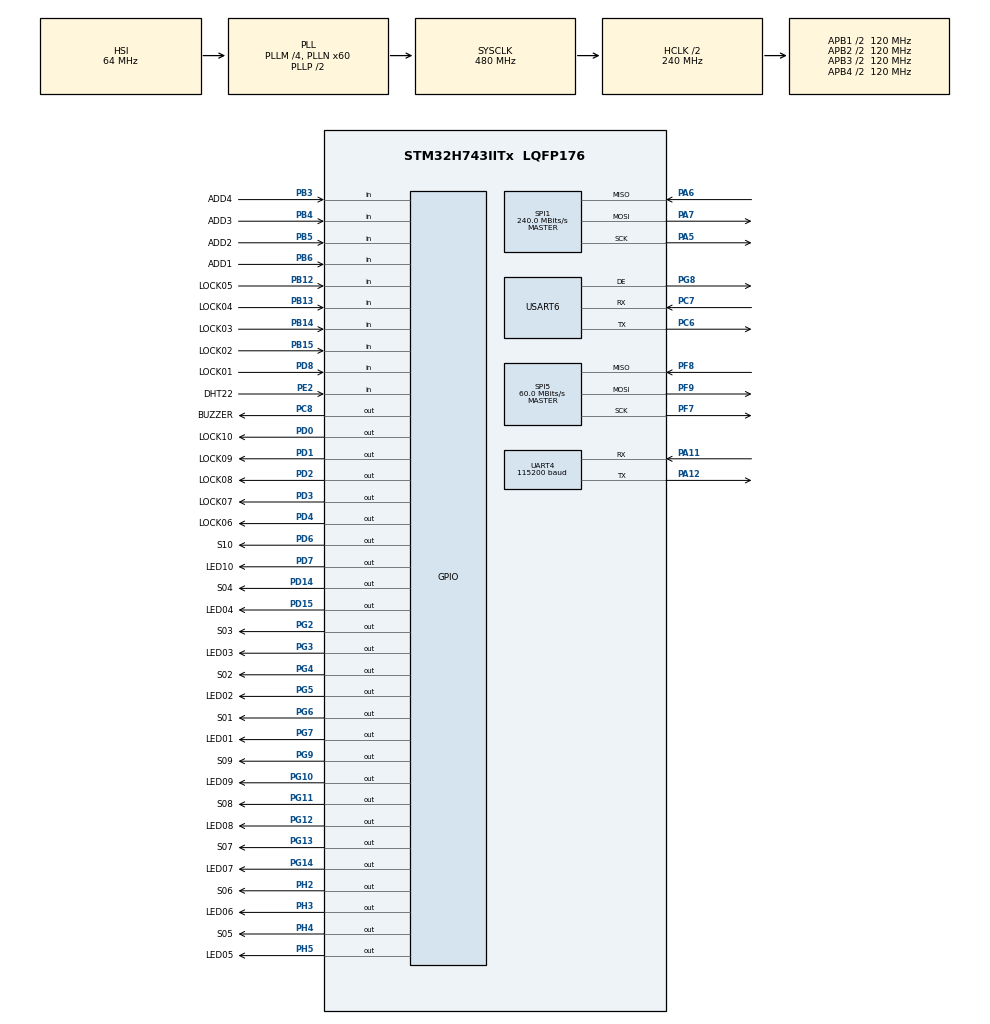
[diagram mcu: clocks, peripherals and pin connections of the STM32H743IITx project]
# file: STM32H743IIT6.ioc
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CORTEX_M7.default_mode_Activation=1
FREERTOS.Tasks01=defaultTask,24,128,StartDefaultTask,Default,NULL,Dynamic,NULL,NULL;buzzerTask,8,128,StartTask02,Default,NULL,Dynamic,NULL,NULL
Mcu.Family=STM32H7
Mcu.Name=STM32H743IITx
Mcu.Package=LQFP176
NVIC.PriorityGroup=NVIC_PRIORITYGROUP_4
NVIC.TIM6_DAC_IRQn=true\:15\:0\:false\:false\:true\:false\:false\:true\:true
NVIC.TimeBase=TIM6_DAC_IRQn
NVIC.TimeBaseIP=TIM6
NVIC.UART4_IRQn=true\:5\:0\:false\:false\:true\:true\:true\:true\:true
PA11.Mode=Asynchronous
PA11.Signal=UART4_RX
PA12.Mode=Asynchronous
PA12.Signal=UART4_TX
PA13\ (JTMS/SWDIO).Signal=DEBUG_JTMS-SWDIO
PA14\ (JTCK/SWCLK).Signal=DEBUG_JTCK-SWCLK
PA4.Signal=SPI1_NSS
PA5.Mode=Full_Duplex_Master
PA5.Signal=SPI1_SCK
PA6.Mode=Full_Duplex_Master
PA6.Signal=SPI1_MISO
PA7.Mode=Full_Duplex_Master
PA7.Signal=SPI1_MOSI
PB12.GPIO_Label=LOCK05
PB12.Signal=GPIO_Input
PB13.GPIO_Label=LOCK04
PB13.Signal=GPIO_Input
PB14.GPIO_Label=LOCK03
PB14.Signal=GPIO_Input
PB15.GPIO_Label=LOCK02
PB15.Signal=GPIO_Input
PB3\ (JTDO/TRACESWO).GPIO_Label=ADD4
PB3\ (JTDO/TRACESWO).Signal=GPIO_Input
PB4\ (NJTRST).GPIO_Label=ADD3
PB4\ (NJTRST).Signal=GPIO_Input
PB5.GPIO_Label=ADD2
PB5.Signal=GPIO_Input
PB6.GPIO_Label=ADD1
PB6.Signal=GPIO_Input
PC14-OSC32_IN\ (OSC32_IN).Mode=LSE-External-Oscillator
PC14-OSC32_IN\ (OSC32_IN).Signal=RCC_OSC32_IN
PC15-OSC32_OUT\ (OSC32_OUT).Mode=LSE-External-Oscillator
PC15-OSC32_OUT\ (OSC32_OUT).Signal=RCC_OSC32_OUT
PC6.Mode=Asynchronous
PC6.Signal=USART6_TX
PC7.Mode=Asynchronous
PC7.Signal=USART6_RX
PC8.GPIO_Label=BUZZER
PC8.Signal=GPIO_Output
PD0.GPIO_Label=LOCK10
PD0.Signal=GPIO_Output
PD1.GPIO_Label=LOCK09
PD1.Signal=GPIO_Output
PD14.GPIO_Label=S04
PD14.Signal=GPIO_Output
PD15.GPIO_Label=LED04
PD15.Signal=GPIO_Output
PD2.GPIO_Label=LOCK08
PD2.Signal=GPIO_Output
PD3.GPIO_Label=LOCK07
PD3.Signal=GPIO_Output
PD4.GPIO_Label=LOCK06
PD4.Signal=GPIO_Output
PD6.GPIO_Label=S10
PD6.Signal=GPIO_Output
PD7.GPIO_Label=LED10
PD7.Signal=GPIO_Output
PD8.GPIO_Label=LOCK01
PD8.Signal=GPIO_Input
PE2.GPIO_Label=DHT22
PE2.Signal=GPIO_Input
PF6.Signal=SPI5_NSS
PF7.Mode=Full_Duplex_Master
PF7.Signal=SPI5_SCK
PF8.Mode=Full_Duplex_Master
PF8.Signal=SPI5_MISO
PF9.Mode=Full_Duplex_Master
PF9.Signal=SPI5_MOSI
PG10.GPIO_Label=LED09
PG10.Signal=GPIO_Output
PG11.GPIO_Label=S08
PG11.Signal=GPIO_Output
PG12.GPIO_Label=LED08
PG12.Signal=GPIO_Output
PG13.GPIO_Label=S07
PG13.Signal=GPIO_Output
PG14.GPIO_Label=LED07
PG14.Signal=GPIO_Output
PG2.GPIO_Label=S03
PG2.Signal=GPIO_Output
PG3.GPIO_Label=LED03
PG3.Signal=GPIO_Output
PG4.GPIO_Label=S02
PG4.Signal=GPIO_Output
PG5.GPIO_Label=LED02
PG5.Signal=GPIO_Output
PG6.GPIO_Label=S01
PG6.Signal=GPIO_Output
PG7.GPIO_Label=LED01
PG7.Signal=GPIO_Output
PG8.Mode=Hardware Flow Control (RS485)
PG8.Signal=USART6_DE
PG9.GPIO_Label=S09
PG9.Signal=GPIO_Output
PH0-OSC_IN\ (PH0).Mode=HSE-External-Oscillator
PH0-OSC_IN\ (PH0).Signal=RCC_OSC_IN
PH1-OSC_OUT\ (PH1).Mode=HSE-External-Oscillator
PH1-OSC_OUT\ (PH1).Signal=RCC_OSC_OUT
PH2.GPIO_Label=S06
PH2.Signal=GPIO_Output
PH3.GPIO_Label=LED06
PH3.Signal=GPIO_Output
PH4.GPIO_Label=S05
PH4.Signal=GPIO_Output
PH5.GPIO_Label=LED05
PH5.Signal=GPIO_Output
ProjectManager.HeapSize=0x200
ProjectManager.StackSize=0x400
ProjectManager.TargetToolchain=STM32CubeIDE
RCC.ADCFreq_Value=129000000
RCC.APB1Freq_Value=120000000
RCC.APB2Freq_Value=120000000
RCC.APB3Freq_Value=120000000
RCC.APB4Freq_Value=120000000
RCC.CortexFreq_Value=480000000
RCC.D1PPRE=RCC_APB3_DIV2
RCC.D2PPRE1=RCC_APB1_DIV2
RCC.D2PPRE2=RCC_APB2_DIV2
RCC.D3PPRE=RCC_APB4_DIV2
RCC.DIVM1=4
RCC.DIVN1=60
RCC.HCLKFreq_Value=240000000
RCC.HPRE=RCC_HCLK_DIV2
RCC.HSE_VALUE=25000000
RCC.PLL2FRACN=0
RCC.PLL3FRACN=0
RCC.PLLFRACN=0
RCC.SYSCLKFreq_VALUE=480000000
RCC.SYSCLKSource=RCC_SYSCLKSOURCE_PLLCLK
RCC.USBFreq_Value=480000000
SPI1.BaudRatePrescaler=SPI_BAUDRATEPRESCALER_2
SPI1.CalculateBaudRate=240.0 MBits/s
SPI1.Direction=SPI_DIRECTION_2LINES
SPI1.Mode=SPI_MODE_MASTER
SPI1.VirtualType=VM_MASTER
SPI5.CalculateBaudRate=60.0 MBits/s
SPI5.Direction=SPI_DIRECTION_2LINES
SPI5.Mode=SPI_MODE_MASTER
SPI5.VirtualType=VM_MASTER
UART4.BaudRate=115200
USART6.VirtualMode-Asynchronous=VM_ASYNC
USART6.VirtualMode-Hardware\ Flow\ Control\ (RS485)=VM_ASYNC
VP_FREERTOS_VS_CMSIS_V2.Mode=CMSIS_V2
VP_MEMORYMAP_VS_MEMORYMAP.Mode=CurAppReg
VP_SYS_VS_tim6.Mode=TIM6
board=custom

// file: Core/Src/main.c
/* USER CODE BEGIN Header */
/**
 ******************************************************************************
 * @file           : main.c
 * @brief          : Main program body
 ******************************************************************************
 * @attention
 *
 * Copyright (c) 2024 STMicroelectronics.
 * All rights reserved.
 *
 * This software is licensed under terms that can be found in the LICENSE file
 * in the root directory of this software component.
 * If no LICENSE file comes with this software, it is provided AS-IS.
 *
 ******************************************************************************
 */
/* USER CODE END Header */
#include "main.h"
#include "cmsis_os.h"
#include "dht22.h"

SPI_HandleTypeDef hspi1;
SPI_HandleTypeDef hspi5;

UART_HandleTypeDef huart4;
UART_HandleTypeDef huart6;
DHT22_Data_t sensorData;
/* Definitions for defaultTask */
osThreadId_t defaultTaskHandle;
const osThreadAttr_t defaultTask_attributes = { .name = "defaultTask",
		.stack_size = 128 * 4, .priority = (osPriority_t) osPriorityNormal, };
/* Definitions for buzzerTask */
osThreadId_t buzzerTaskHandle;
const osThreadAttr_t buzzerTask_attributes = { .name = "buzzerTask",
		.stack_size = 128 * 4, .priority = (osPriority_t) osPriorityLow, };
/* USER CODE BEGIN PV */
int timeDelay = 1;
int solenoidTimeDelay = 300;
uint8_t add1[1];
uint8_t add2[1];
uint8_t add3[1];
uint8_t add4[1];
uint8_t address[1];
uint8_t buzzerStatus[1];
uint8_t pinStatus[10] = { 0x30, 0x31, 0x32, 0x33, 0x34, 0x35, 0x36, 0x37, 0x38,
		0x39 };
uint8_t solenoidStatus[10] = { };
uint8_t play[6] = { 0x41, 0x42, 0x43, 0x44, 0x45, 0x46 };
uint8_t rxBuffer[8];
uint8_t txBuffer[15] = { 0x02, 0x00, 0x00, 0x00, 0x00, 0x00, 0x00, 0x00, 0x00,
		0x00, 0x00, 0x00, 0x00, 0x00, 0x03 };

/* USER CODE END PV */

void SystemClock_Config(void);
static void MPU_Config(void);
static void MX_GPIO_Init(void);
static void MX_UART4_Init(void);
static void MX_USART6_UART_Init(void);
static void MX_SPI1_Init(void);
static void MX_SPI5_Init(void);
void StartDefaultTask(void *argument);
void StartTask02(void *argument);
void solenoidControl(uint8_t solenoidNo);
void readLockStatus();
void replyProtocol();
uint8_t checkSum();
uint8_t checkSumReply();
uint8_t readAddress();

int main(void) {
	HAL_Init();
	SystemClock_Config();
	MX_GPIO_Init();
	DHT22_Init();
	//MX_TIM1_Init(); // Initialize TIM1 for microsecond delay

	/* MPU Configuration--------------------------------------------------------*/
	MPU_Config();

	/* MCU Configuration--------------------------------------------------------*/

	/* Reset of all peripherals, Initializes the Flash interface and the Systick. */
	HAL_Init();

	/* Configure the system clock */
	SystemClock_Config();

	/* Initialize all configured peripherals */
	MX_GPIO_Init();
	MX_UART4_Init();
	MX_USART6_UART_Init();
	MX_SPI1_Init();
	MX_SPI5_Init();

	/* Init scheduler */
	osKernelInitialize();

	/* Create the thread(s) */
	/* creation of defaultTask */
	defaultTaskHandle = osThreadNew(StartDefaultTask, NULL,
			&defaultTask_attributes);

	/* creation of buzzerTask */
	buzzerTaskHandle = osThreadNew(StartTask02, NULL, &buzzerTask_attributes);

	vTaskSuspend(buzzerTaskHandle);
	/* Start scheduler */
	osKernelStart();

	/* We should never get here as control is now taken by the scheduler */

	/* Infinite loop */
	while (1) {

	}
}

void SystemClock_Config(void) {
	RCC_OscInitTypeDef RCC_OscInitStruct = { 0 };
	RCC_ClkInitTypeDef RCC_ClkInitStruct = { 0 };

	/** Supply configuration update enable
	 */
	HAL_PWREx_ConfigSupply(PWR_LDO_SUPPLY);

	/** Configure the main internal regulator output voltage
	 */
	__HAL_PWR_VOLTAGESCALING_CONFIG(PWR_REGULATOR_VOLTAGE_SCALE1);

	while (!__HAL_PWR_GET_FLAG(PWR_FLAG_VOSRDY)) {
	}

	__HAL_RCC_SYSCFG_CLK_ENABLE();
	__HAL_PWR_VOLTAGESCALING_CONFIG(PWR_REGULATOR_VOLTAGE_SCALE0);

	while (!__HAL_PWR_GET_FLAG(PWR_FLAG_VOSRDY)) {
	}

	/** Initializes the RCC Oscillators according to the specified parameters
	 * in the RCC_OscInitTypeDef structure.
	 */
	RCC_OscInitStruct.OscillatorType = RCC_OSCILLATORTYPE_HSI;
	RCC_OscInitStruct.HSIState = RCC_HSI_DIV1;
	RCC_OscInitStruct.HSICalibrationValue = RCC_HSICALIBRATION_DEFAULT;
	RCC_OscInitStruct.PLL.PLLState = RCC_PLL_ON;
	RCC_OscInitStruct.PLL.PLLSource = RCC_PLLSOURCE_HSI;
	RCC_OscInitStruct.PLL.PLLM = 4;
	RCC_OscInitStruct.PLL.PLLN = 60;
	RCC_OscInitStruct.PLL.PLLP = 2;
	RCC_OscInitStruct.PLL.PLLQ = 2;
	RCC_OscInitStruct.PLL.PLLR = 2;
	RCC_OscInitStruct.PLL.PLLRGE = RCC_PLL1VCIRANGE_3;
	RCC_OscInitStruct.PLL.PLLVCOSEL = RCC_PLL1VCOWIDE;
	RCC_OscInitStruct.PLL.PLLFRACN = 0;
	if (HAL_RCC_OscConfig(&RCC_OscInitStruct) != HAL_OK) {
		Error_Handler();
	}

	/** Initializes the CPU, AHB and APB buses clocks
	 */
	RCC_ClkInitStruct.ClockType = RCC_CLOCKTYPE_HCLK | RCC_CLOCKTYPE_SYSCLK
			| RCC_CLOCKTYPE_PCLK1 | RCC_CLOCKTYPE_PCLK2 | RCC_CLOCKTYPE_D3PCLK1
			| RCC_CLOCKTYPE_D1PCLK1;
	RCC_ClkInitStruct.SYSCLKSource = RCC_SYSCLKSOURCE_PLLCLK;
	RCC_ClkInitStruct.SYSCLKDivider = RCC_SYSCLK_DIV1;
	RCC_ClkInitStruct.AHBCLKDivider = RCC_HCLK_DIV2;
	RCC_ClkInitStruct.APB3CLKDivider = RCC_APB3_DIV2;
	RCC_ClkInitStruct.APB1CLKDivider = RCC_APB1_DIV2;
	RCC_ClkInitStruct.APB2CLKDivider = RCC_APB2_DIV2;
	RCC_ClkInitStruct.APB4CLKDivider = RCC_APB4_DIV2;

	if (HAL_RCC_ClockConfig(&RCC_ClkInitStruct, FLASH_LATENCY_4) != HAL_OK) {
		Error_Handler();
	}
}

static void MX_SPI1_Init(void) {

	/* SPI1 parameter configuration*/
	hspi1.Instance = SPI1;
	hspi1.Init.Mode = SPI_MODE_MASTER;
	hspi1.Init.Direction = SPI_DIRECTION_2LINES;
	hspi1.Init.DataSize = SPI_DATASIZE_4BIT;
	hspi1.Init.CLKPolarity = SPI_POLARITY_LOW;
	hspi1.Init.CLKPhase = SPI_PHASE_1EDGE;
	hspi1.Init.NSS = SPI_NSS_SOFT;
	hspi1.Init.BaudRatePrescaler = SPI_BAUDRATEPRESCALER_2;
	hspi1.Init.FirstBit = SPI_FIRSTBIT_MSB;
	hspi1.Init.TIMode = SPI_TIMODE_DISABLE;
	hspi1.Init.CRCCalculation = SPI_CRCCALCULATION_DISABLE;
	hspi1.Init.CRCPolynomial = 0x0;
	hspi1.Init.NSSPMode = SPI_NSS_PULSE_ENABLE;
	hspi1.Init.NSSPolarity = SPI_NSS_POLARITY_LOW;
	hspi1.Init.FifoThreshold = SPI_FIFO_THRESHOLD_01DATA;
	hspi1.Init.TxCRCInitializationPattern =
	SPI_CRC_INITIALIZATION_ALL_ZERO_PATTERN;
	hspi1.Init.RxCRCInitializationPattern =
	SPI_CRC_INITIALIZATION_ALL_ZERO_PATTERN;
	hspi1.Init.MasterSSIdleness = SPI_MASTER_SS_IDLENESS_00CYCLE;
	hspi1.Init.MasterInterDataIdleness = SPI_MASTER_INTERDATA_IDLENESS_00CYCLE;
	hspi1.Init.MasterReceiverAutoSusp = SPI_MASTER_RX_AUTOSUSP_DISABLE;
	hspi1.Init.MasterKeepIOState = SPI_MASTER_KEEP_IO_STATE_DISABLE;
	hspi1.Init.IOSwap = SPI_IO_SWAP_DISABLE;
	if (HAL_SPI_Init(&hspi1) != HAL_OK) {
		Error_Handler();
	}

}

static void MX_SPI5_Init(void) {

	/* SPI5 parameter configuration*/
	hspi5.Instance = SPI5;
	hspi5.Init.Mode = SPI_MODE_MASTER;
	hspi5.Init.Direction = SPI_DIRECTION_2LINES;
	hspi5.Init.DataSize = SPI_DATASIZE_4BIT;
	hspi5.Init.CLKPolarity = SPI_POLARITY_LOW;
	hspi5.Init.CLKPhase = SPI_PHASE_1EDGE;
	hspi5.Init.NSS = SPI_NSS_SOFT;
	hspi5.Init.BaudRatePrescaler = SPI_BAUDRATEPRESCALER_2;
	hspi5.Init.FirstBit = SPI_FIRSTBIT_MSB;
	hspi5.Init.TIMode = SPI_TIMODE_DISABLE;
	hspi5.Init.CRCCalculation = SPI_CRCCALCULATION_DISABLE;
	hspi5.Init.CRCPolynomial = 0x0;
	hspi5.Init.NSSPMode = SPI_NSS_PULSE_ENABLE;
	hspi5.Init.NSSPolarity = SPI_NSS_POLARITY_LOW;
	hspi5.Init.FifoThreshold = SPI_FIFO_THRESHOLD_01DATA;
	hspi5.Init.TxCRCInitializationPattern =
	SPI_CRC_INITIALIZATION_ALL_ZERO_PATTERN;
	hspi5.Init.RxCRCInitializationPattern =
	SPI_CRC_INITIALIZATION_ALL_ZERO_PATTERN;
	hspi5.Init.MasterSSIdleness = SPI_MASTER_SS_IDLENESS_00CYCLE;
	hspi5.Init.MasterInterDataIdleness = SPI_MASTER_INTERDATA_IDLENESS_00CYCLE;
	hspi5.Init.MasterReceiverAutoSusp = SPI_MASTER_RX_AUTOSUSP_DISABLE;
	hspi5.Init.MasterKeepIOState = SPI_MASTER_KEEP_IO_STATE_DISABLE;
	hspi5.Init.IOSwap = SPI_IO_SWAP_DISABLE;
	if (HAL_SPI_Init(&hspi5) != HAL_OK) {
		Error_Handler();
	}

}

static void MX_UART4_Init(void) {

	huart4.Instance = UART4;
	huart4.Init.BaudRate = 115200;
	huart4.Init.WordLength = UART_WORDLENGTH_8B;
	huart4.Init.StopBits = UART_STOPBITS_1;
	huart4.Init.Parity = UART_PARITY_NONE;
	huart4.Init.Mode = UART_MODE_TX_RX;
	huart4.Init.HwFlowCtl = UART_HWCONTROL_NONE;
	huart4.Init.OverSampling = UART_OVERSAMPLING_16;
	huart4.Init.OneBitSampling = UART_ONE_BIT_SAMPLE_DISABLE;
	huart4.Init.ClockPrescaler = UART_PRESCALER_DIV1;
	huart4.AdvancedInit.AdvFeatureInit = UART_ADVFEATURE_NO_INIT;
	if (HAL_UART_Init(&huart4) != HAL_OK) {
		Error_Handler();
	}
	if (HAL_UARTEx_SetTxFifoThreshold(&huart4, UART_TXFIFO_THRESHOLD_1_8)
			!= HAL_OK) {
		Error_Handler();
	}
	if (HAL_UARTEx_SetRxFifoThreshold(&huart4, UART_RXFIFO_THRESHOLD_1_8)
			!= HAL_OK) {
		Error_Handler();
	}
	if (HAL_UARTEx_DisableFifoMode(&huart4) != HAL_OK) {
		Error_Handler();
	}

}

static void MX_USART6_UART_Init(void) {

	huart6.Instance = USART6;
	huart6.Init.BaudRate = 115200;
	huart6.Init.WordLength = UART_WORDLENGTH_8B;
	huart6.Init.StopBits = UART_STOPBITS_1;
	huart6.Init.Parity = UART_PARITY_NONE;
	huart6.Init.Mode = UART_MODE_TX_RX;
	huart6.Init.HwFlowCtl = UART_HWCONTROL_NONE;
	huart6.Init.OverSampling = UART_OVERSAMPLING_16;
	huart6.Init.OneBitSampling = UART_ONE_BIT_SAMPLE_DISABLE;
	huart6.Init.ClockPrescaler = UART_PRESCALER_DIV1;
	huart6.AdvancedInit.AdvFeatureInit = UART_ADVFEATURE_NO_INIT;
	if (HAL_RS485Ex_Init(&huart6, UART_DE_POLARITY_HIGH, 0, 0) != HAL_OK) {
		Error_Handler();
	}
	if (HAL_UARTEx_SetTxFifoThreshold(&huart6, UART_TXFIFO_THRESHOLD_1_8)
			!= HAL_OK) {
		Error_Handler();
	}
	if (HAL_UARTEx_SetRxFifoThreshold(&huart6, UART_RXFIFO_THRESHOLD_1_8)
			!= HAL_OK) {
		Error_Handler();
	}
	if (HAL_UARTEx_DisableFifoMode(&huart6) != HAL_OK) {
		Error_Handler();
	}

}

static void MX_GPIO_Init(void) {
	GPIO_InitTypeDef GPIO_InitStruct = { 0 };

	/* GPIO Ports Clock Enable */
	__HAL_RCC_GPIOE_CLK_ENABLE();
	__HAL_RCC_GPIOC_CLK_ENABLE();
	__HAL_RCC_GPIOF_CLK_ENABLE();
	__HAL_RCC_GPIOH_CLK_ENABLE();
	__HAL_RCC_GPIOA_CLK_ENABLE();
	__HAL_RCC_GPIOB_CLK_ENABLE();
	__HAL_RCC_GPIOD_CLK_ENABLE();
	__HAL_RCC_GPIOG_CLK_ENABLE();

	/*Configure GPIO pin Output Level */
	HAL_GPIO_WritePin(GPIOH, S06_Pin | LED06_Pin | S05_Pin | LED05_Pin,
			GPIO_PIN_RESET);

	/*Configure GPIO pin Output Level */
	HAL_GPIO_WritePin(GPIOD,
			S04_Pin | LED04_Pin | LOCK10_Pin | LOCK09_Pin | LOCK08_Pin
					| LOCK07_Pin | LOCK06_Pin | S10_Pin | LED10_Pin,
			GPIO_PIN_RESET);

	/*Configure GPIO pin Output Level */
	HAL_GPIO_WritePin(GPIOG,
			S03_Pin | LED03_Pin | S02_Pin | LED02_Pin | S01_Pin | LED01_Pin
					| S09_Pin | LED09_Pin | S08_Pin | LED08_Pin | S07_Pin
					| LED07_Pin, GPIO_PIN_RESET);

	/*Configure GPIO pin Output Level */
	HAL_GPIO_WritePin(BUZZER_GPIO_Port, BUZZER_Pin, GPIO_PIN_RESET);

	/*Configure GPIO pin : DHT22_Pin */
	GPIO_InitStruct.Pin = DHT22_Pin;
	GPIO_InitStruct.Mode = GPIO_MODE_INPUT;
	GPIO_InitStruct.Pull = GPIO_NOPULL;
	HAL_GPIO_Init(DHT22_GPIO_Port, &GPIO_InitStruct);

	/*Configure GPIO pins : S06_Pin LED06_Pin S05_Pin LED05_Pin */
	GPIO_InitStruct.Pin = S06_Pin | LED06_Pin | S05_Pin | LED05_Pin;
	GPIO_InitStruct.Mode = GPIO_MODE_OUTPUT_PP;
	GPIO_InitStruct.Pull = GPIO_NOPULL;
	GPIO_InitStruct.Speed = GPIO_SPEED_FREQ_LOW;
	HAL_GPIO_Init(GPIOH, &GPIO_InitStruct);

	/*Configure GPIO pins : LOCK05_Pin LOCK04_Pin LOCK03_Pin LOCK02_Pin
	 ADD4_Pin ADD3_Pin ADD2_Pin ADD1_Pin */
	GPIO_InitStruct.Pin = LOCK05_Pin | LOCK04_Pin | LOCK03_Pin | LOCK02_Pin
			| ADD4_Pin | ADD3_Pin | ADD2_Pin | ADD1_Pin;
	GPIO_InitStruct.Mode = GPIO_MODE_INPUT;
	GPIO_InitStruct.Pull = GPIO_NOPULL;
	HAL_GPIO_Init(GPIOB, &GPIO_InitStruct);

	/*Configure GPIO pin : LOCK01_Pin */
	GPIO_InitStruct.Pin = LOCK01_Pin;
	GPIO_InitStruct.Mode = GPIO_MODE_INPUT;
	GPIO_InitStruct.Pull = GPIO_NOPULL;
	HAL_GPIO_Init(LOCK01_GPIO_Port, &GPIO_InitStruct);

	/*Configure GPIO pins : S04_Pin LED04_Pin LOCK10_Pin LOCK09_Pin
	 LOCK08_Pin LOCK07_Pin LOCK06_Pin S10_Pin
	 LED10_Pin */
	GPIO_InitStruct.Pin = S04_Pin | LED04_Pin | LOCK10_Pin | LOCK09_Pin
			| LOCK08_Pin | LOCK07_Pin | LOCK06_Pin | S10_Pin | LED10_Pin;
	GPIO_InitStruct.Mode = GPIO_MODE_OUTPUT_PP;
	GPIO_InitStruct.Pull = GPIO_NOPULL;
	GPIO_InitStruct.Speed = GPIO_SPEED_FREQ_LOW;
	HAL_GPIO_Init(GPIOD, &GPIO_InitStruct);

	/*Configure GPIO pins : S03_Pin LED03_Pin S02_Pin LED02_Pin
	 S01_Pin LED01_Pin S09_Pin LED09_Pin
	 S08_Pin LED08_Pin S07_Pin LED07_Pin */
	GPIO_InitStruct.Pin = S03_Pin | LED03_Pin | S02_Pin | LED02_Pin | S01_Pin
			| LED01_Pin | S09_Pin | LED09_Pin | S08_Pin | LED08_Pin | S07_Pin
			| LED07_Pin;
	GPIO_InitStruct.Mode = GPIO_MODE_OUTPUT_PP;
	GPIO_InitStruct.Pull = GPIO_NOPULL;
	GPIO_InitStruct.Speed = GPIO_SPEED_FREQ_LOW;
	HAL_GPIO_Init(GPIOG, &GPIO_InitStruct);

	/*Configure GPIO pin : BUZZER_Pin */
	GPIO_InitStruct.Pin = BUZZER_Pin;
	GPIO_InitStruct.Mode = GPIO_MODE_OUTPUT_PP;
	GPIO_InitStruct.Pull = GPIO_NOPULL;
	GPIO_InitStruct.Speed = GPIO_SPEED_FREQ_LOW;
	HAL_GPIO_Init(BUZZER_GPIO_Port, &GPIO_InitStruct);

}

void StartDefaultTask(void *argument) {
	/* USER CODE BEGIN 5 */
	/* Infinite loop */
	for (;;) {
		if (HAL_UART_Receive(&huart4, rxBuffer, 8, 10) == HAL_OK) {
			// Data received successfully, transmit it back
			//HAL_GPIO_WritePin(S01_GPIO_Port, S01_Pin, 1);
			//HAL_UART_Transmit(&huart4, (uint8_t*) rxBuffer, 8, 10);
			if (rxBuffer[6] == checkSum() && rxBuffer[1] == 0x01) {
				//Control
				if (rxBuffer[2] == 0x43) {
					//Control Buzzer
					if (rxBuffer[3] == 0x42) {
						if (rxBuffer[5] == 0x31) {
							vTaskResume(buzzerTaskHandle);
							buzzerStatus[0] = 0x31;
						}
						if (rxBuffer[5] == 0x30) {
							vTaskSuspend(buzzerTaskHandle);
							HAL_GPIO_WritePin(BUZZER_GPIO_Port, BUZZER_Pin,
									GPIO_PIN_RESET);
							buzzerStatus[0] = 0x30;
						}

					}
					//Control Solenoid
					if (rxBuffer[3] == 0x53) {
						solenoidControl(rxBuffer[4]);
						replyProtocol();
					}
				}
				//Read
				if (rxBuffer[2] == 0x52) {
					//Buzzer
					if (rxBuffer[3] == 0x42) {

					}
					//Humid
					if (rxBuffer[3] == 0x48) {

					}
					//Solenoid
					if (rxBuffer[3] == 0x53) {

					}
					//Temp
					if (rxBuffer[3] == 0x54) {

					}

				}
				if (rxBuffer[2] == 0x43) {
					//pinStatusCheck();
					//checkSumProtocol();
					//add1[0] = readAddress();
					//HAL_UART_Transmit(&huart4, (uint8_t*) "TEST", 4, 10);
					//HAL_UART_Transmit(&huart4, (uint8_t*) pinStatus, 10, 10);
					//HAL_UART_Transmit(&huart4, (uint8_t*) address, 1, 10);
				}
				//HAL_UART_Transmit(&huart4, (uint8_t*) play, 8, 10);
			}
		}
		osDelay(1);
	}

	/* USER CODE END 5 */
}

void StartTask02(void *argument) {
	/* USER CODE BEGIN StartTask02 */
	/* Infinite loop */
	for (;;) {
		HAL_GPIO_WritePin(BUZZER_GPIO_Port, BUZZER_Pin, GPIO_PIN_SET);
		osDelay(500);
		HAL_GPIO_WritePin(BUZZER_GPIO_Port, BUZZER_Pin, GPIO_PIN_RESET);
		osDelay(500);
	}
	/* USER CODE END StartTask02 */
}

void readLockStatus() {
	solenoidStatus[0] = (
			(HAL_GPIO_ReadPin(LOCK01_GPIO_Port, LOCK01_Pin) == GPIO_PIN_SET) ?
					0x31 : 0x30);
	solenoidStatus[1] = (
			(HAL_GPIO_ReadPin(LOCK02_GPIO_Port, LOCK02_Pin) == GPIO_PIN_SET) ?
					0x31 : 0x30);
	solenoidStatus[2] = (
			(HAL_GPIO_ReadPin(LOCK03_GPIO_Port, LOCK03_Pin) == GPIO_PIN_SET) ?
					0x31 : 0x30);
	solenoidStatus[3] = (
			(HAL_GPIO_ReadPin(LOCK04_GPIO_Port, LOCK04_Pin) == GPIO_PIN_SET) ?
					0x31 : 0x30);
	solenoidStatus[4] = (
			(HAL_GPIO_ReadPin(LOCK05_GPIO_Port, LOCK05_Pin) == GPIO_PIN_SET) ?
					0x31 : 0x30);
	solenoidStatus[5] = (
			(HAL_GPIO_ReadPin(LOCK06_GPIO_Port, LOCK06_Pin) == GPIO_PIN_SET) ?
					0x31 : 0x30);
	solenoidStatus[6] = (
			(HAL_GPIO_ReadPin(LOCK07_GPIO_Port, LOCK07_Pin) == GPIO_PIN_SET) ?
					0x31 : 0x30);
	solenoidStatus[7] = (
			(HAL_GPIO_ReadPin(LOCK08_GPIO_Port, LOCK08_Pin) == GPIO_PIN_SET) ?
					0x31 : 0x30);
	solenoidStatus[8] = (
			(HAL_GPIO_ReadPin(LOCK09_GPIO_Port, LOCK09_Pin) == GPIO_PIN_SET) ?
					0x31 : 0x30);
	solenoidStatus[9] = (
			(HAL_GPIO_ReadPin(LOCK10_GPIO_Port, LOCK10_Pin) == GPIO_PIN_SET) ?
					0x31 : 0x30);
}

void replyProtocol() {
	txBuffer[0] = 0x02;
	txBuffer[1] = readAddress();
	txBuffer[2] = rxBuffer[2];
	readLockStatus();
	txBuffer[3] = solenoidStatus[0];
	if (txBuffer[2] == 0x42) {
		txBuffer[3] = buzzerStatus[0];
	}
	txBuffer[4] = solenoidStatus[1];
	txBuffer[5] = solenoidStatus[2];
	txBuffer[6] = solenoidStatus[3];
	txBuffer[7] = solenoidStatus[4];
	txBuffer[8] = solenoidStatus[5];
	txBuffer[9] = solenoidStatus[6];
	txBuffer[10] = solenoidStatus[7];
	txBuffer[11] = solenoidStatus[8];
	txBuffer[12] = solenoidStatus[9];
	txBuffer[13] = checkSum();
	txBuffer[14] = 0x03;
	HAL_UART_Transmit(&huart4, (uint8_t*) txBuffer, sizeof(txBuffer), 10);
}

uint8_t checkSum() {
	return (rxBuffer[1] ^ rxBuffer[2] ^ rxBuffer[3] ^ rxBuffer[4] ^ rxBuffer[5]);
}
uint8_t readAddress() {
	address[0] = 0x00;
	address[0] |= (HAL_GPIO_ReadPin(ADD1_GPIO_Port, ADD1_Pin) == GPIO_PIN_SET)
			<< 0;
	address[0] |= (HAL_GPIO_ReadPin(ADD2_GPIO_Port, ADD2_Pin) == GPIO_PIN_SET)
			<< 1;
	address[0] |= (HAL_GPIO_ReadPin(ADD3_GPIO_Port, ADD3_Pin) == GPIO_PIN_SET)
			<< 2;
	address[0] |= (HAL_GPIO_ReadPin(ADD4_GPIO_Port, ADD4_Pin) == GPIO_PIN_SET)
			<< 3;
	return address[0];
}
uint8_t checkSumReply() {
	return (txBuffer[1] ^ txBuffer[2] ^ txBuffer[3] ^ txBuffer[4] ^ txBuffer[5]
			^ txBuffer[6] ^ txBuffer[7] ^ txBuffer[8] ^ txBuffer[9]
			^ txBuffer[10] ^ txBuffer[11] ^ txBuffer[12]);
}

void solenoidControl(uint8_t solenoidNo) {
	switch (solenoidNo) {
	case 0x31:
		HAL_GPIO_WritePin(S01_GPIO_Port, S01_Pin, GPIO_PIN_SET);
		osDelay(solenoidTimeDelay);
		HAL_GPIO_WritePin(S01_GPIO_Port, S01_Pin, GPIO_PIN_RESET);
		break;
	case 0x32:
		HAL_GPIO_WritePin(S02_GPIO_Port, S02_Pin, GPIO_PIN_SET);
		osDelay(solenoidTimeDelay);
		HAL_GPIO_WritePin(S02_GPIO_Port, S02_Pin, GPIO_PIN_RESET);
		break;
	case 0x33:
		HAL_GPIO_WritePin(S03_GPIO_Port, S03_Pin, GPIO_PIN_SET);
		osDelay(solenoidTimeDelay);
		HAL_GPIO_WritePin(S03_GPIO_Port, S03_Pin, GPIO_PIN_RESET);
		break;
	case 0x34:
		HAL_GPIO_WritePin(S04_GPIO_Port, S04_Pin, GPIO_PIN_SET);
		osDelay(solenoidTimeDelay);
		HAL_GPIO_WritePin(S04_GPIO_Port, S04_Pin, GPIO_PIN_RESET);
		break;
	case 0x35:
		HAL_GPIO_WritePin(S05_GPIO_Port, S05_Pin, GPIO_PIN_SET);
		osDelay(solenoidTimeDelay);
		HAL_GPIO_WritePin(S05_GPIO_Port, S05_Pin, GPIO_PIN_RESET);
		break;
	case 0x36:
		HAL_GPIO_WritePin(S06_GPIO_Port, S06_Pin, GPIO_PIN_SET);
		osDelay(solenoidTimeDelay);
		HAL_GPIO_WritePin(S06_GPIO_Port, S06_Pin, GPIO_PIN_RESET);
		break;
	case 0x37:
		HAL_GPIO_WritePin(S07_GPIO_Port, S07_Pin, GPIO_PIN_SET);
		osDelay(solenoidTimeDelay);
		HAL_GPIO_WritePin(S07_GPIO_Port, S07_Pin, GPIO_PIN_RESET);
		break;
	case 0x38:
		HAL_GPIO_WritePin(S08_GPIO_Port, S08_Pin, GPIO_PIN_SET);
		osDelay(solenoidTimeDelay);
		HAL_GPIO_WritePin(S08_GPIO_Port, S08_Pin, GPIO_PIN_RESET);
		break;
	case 0x39:
		HAL_GPIO_WritePin(S09_GPIO_Port, S09_Pin, GPIO_PIN_SET);
		osDelay(solenoidTimeDelay);
		HAL_GPIO_WritePin(S09_GPIO_Port, S09_Pin, GPIO_PIN_RESET);
		break;
	case 0x3A:
		HAL_GPIO_WritePin(S10_GPIO_Port, S10_Pin, GPIO_PIN_SET);
		osDelay(solenoidTimeDelay);
		HAL_GPIO_WritePin(S10_GPIO_Port, S10_Pin, GPIO_PIN_RESET);
		break;
	}

}

/* MPU Configuration */

void MPU_Config(void) {
	MPU_Region_InitTypeDef MPU_InitStruct = { 0 };

	/* Disables the MPU */
	HAL_MPU_Disable();

	/** Initializes and configures the Region and the memory to be protected
	 */
	MPU_InitStruct.Enable = MPU_REGION_ENABLE;
	MPU_InitStruct.Number = MPU_REGION_NUMBER0;
	MPU_InitStruct.BaseAddress = 0x0;
	MPU_InitStruct.Size = MPU_REGION_SIZE_4GB;
	MPU_InitStruct.SubRegionDisable = 0x87;
	MPU_InitStruct.TypeExtField = MPU_TEX_LEVEL0;
	MPU_InitStruct.AccessPermission = MPU_REGION_NO_ACCESS;
	MPU_InitStruct.DisableExec = MPU_INSTRUCTION_ACCESS_DISABLE;
	MPU_InitStruct.IsShareable = MPU_ACCESS_SHAREABLE;
	MPU_InitStruct.IsCacheable = MPU_ACCESS_NOT_CACHEABLE;
	MPU_InitStruct.IsBufferable = MPU_ACCESS_NOT_BUFFERABLE;

	HAL_MPU_ConfigRegion(&MPU_InitStruct);
	/* Enables the MPU */
	HAL_MPU_Enable(MPU_PRIVILEGED_DEFAULT);

}

void HAL_TIM_PeriodElapsedCallback(TIM_HandleTypeDef *htim) {
	if (htim->Instance == TIM6) {
		HAL_IncTick();
	}
}

void Error_Handler(void) {
	__disable_irq();
	while (1) {
	}
}
